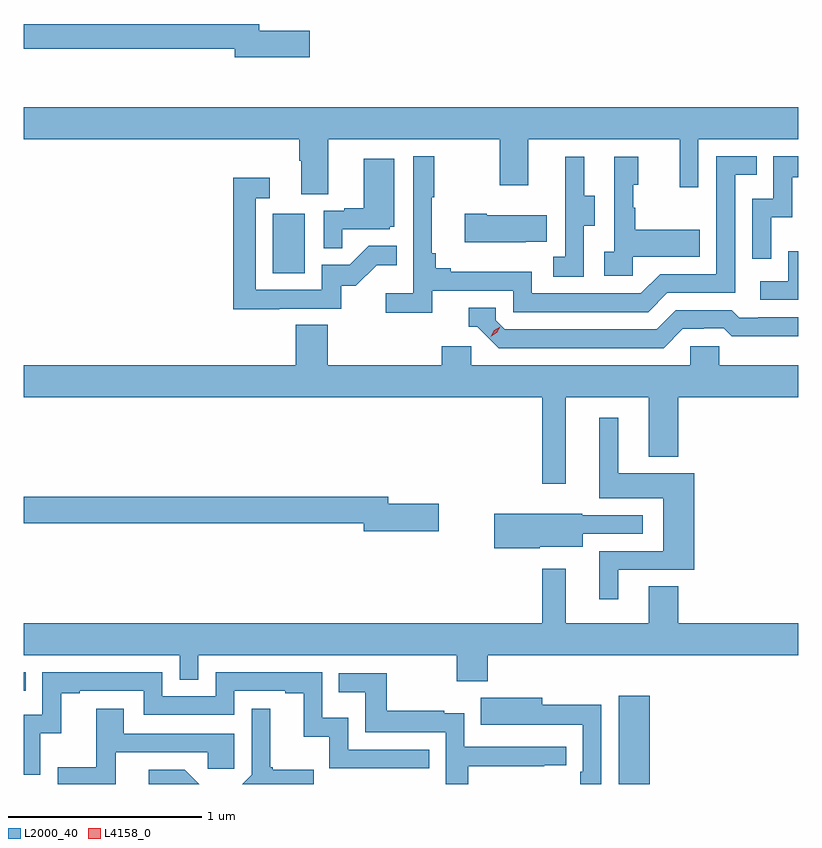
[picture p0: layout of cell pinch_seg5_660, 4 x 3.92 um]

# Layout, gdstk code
import gdstk
lib = gdstk.Library(unit=1e-6, precision=1e-09)
def R(c, l, rs):  # rectangles x0, y0, x1, y1
    for r in rs: c.add(gdstk.rectangle(r[:2], r[2:], *l))
def P(c, l, *ps):  # polygons
    for p in ps: c.add(gdstk.Polygon(p, *l))
L2000_40 = (2000, 40)
L4158_0 = (4158, 0)

pinch_seg5_660 = lib.new_cell('pinch_seg5_660')
R(pinch_seg5_660, L2000_40, [(1060.877,850.766,1061.038,851.221), (1057.805,851.247,1057.817,851.343), (1059.092,853.404,1059.256,853.711)])
P(pinch_seg5_660, L2000_40, [(1059.283,854.654),(1059.022,854.654),(1059.022,854.69),(1057.805,854.69),(1057.805,854.562),(1058.894,854.562),(1058.894,854.519),(1059.283,854.519)],
  [(1059.379,854.096),(1060.264,854.096),(1060.264,853.857),(1060.411,853.857),(1060.411,854.096),(1061.192,854.096),(1061.192,853.848),(1061.289,853.848),(1061.289,854.096),(1061.805,854.096),(1061.805,854.26),(1057.805,854.26),(1057.805,854.096),(1059.227,854.096),(1059.227,853.984),(1059.239,853.984),(1059.239,853.81),(1059.379,853.81)],
  [(1059.914,853.314),(1060.332,853.314),(1060.332,853.203),(1061.029,853.203),(1061.128,853.302),(1061.478,853.302),(1061.478,853.911),(1061.591,853.911),(1061.591,854.007),(1061.382,854.007),(1061.382,853.398),(1061.091,853.398),(1060.992,853.299),(1060.428,853.299),(1060.428,853.411),(1060.009,853.411),(1060.009,853.43),(1059.932,853.43),(1059.932,853.507),(1059.913,853.507),(1059.913,853.795),(1059.925,853.795),(1059.925,854.008),(1059.816,854.008),(1059.816,853.3),(1059.675,853.3),(1059.675,853.198),(1059.914,853.198)],
  [(1061.664,853.691),(1061.774,853.691),(1061.774,853.899),(1061.805,853.899),(1061.805,854.007),(1061.676,854.007),(1061.676,853.788),(1061.568,853.788),(1061.568,853.479),(1061.664,853.479)],
  [(1060.698,853.648),(1060.753,853.648),(1060.753,853.803),(1060.699,853.803),(1060.699,854.005),(1060.601,854.005),(1060.601,853.791),(1060.602,853.791),(1060.602,853.487),(1060.539,853.487),(1060.539,853.384),(1060.698,853.384)],
  [(1060.95,853.487),(1061.297,853.487),(1061.297,853.627),(1060.963,853.627),(1060.963,853.742),(1060.953,853.742),(1060.953,853.86),(1060.978,853.86),(1060.978,854.005),(1060.854,854.005),(1060.854,853.514),(1060.803,853.514),(1060.803,853.389),(1060.95,853.389)],
  [(1059.449,853.629),(1059.696,853.629),(1059.696,853.644),(1059.718,853.644),(1059.718,853.993),(1059.56,853.993),(1059.56,853.738),(1059.461,853.738),(1059.461,853.725),(1059.354,853.725),(1059.354,853.531),(1059.449,853.531)],
  [(1059.125,853.221),(1059.444,853.221),(1059.444,853.338),(1059.52,853.338),(1059.627,853.445),(1059.731,853.445),(1059.731,853.544),(1059.587,853.544),(1059.489,853.446),(1059.345,853.446),(1059.345,853.317),(1059.003,853.317),(1059.003,853.791),(1059.076,853.791),(1059.076,853.897),(1058.887,853.897),(1058.887,853.216),(1059.125,853.216)],
  [(1060.397,853.565),(1060.505,853.565),(1060.505,853.702),(1060.195,853.702),(1060.195,853.71),(1060.083,853.71),(1060.083,853.562),(1060.397,853.562)],
  [(1061.805,853.516),(1061.754,853.516),(1061.754,853.362),(1061.607,853.362),(1061.607,853.266),(1061.805,853.266)],
  [(1061.209,853.116),(1061.316,853.116),(1061.316,853.119),(1061.419,853.119),(1061.461,853.077),(1061.694,853.077),(1061.694,853.079),(1061.805,853.079),(1061.805,853.176),(1061.599,853.176),(1061.599,853.173),(1061.5,853.173),(1061.461,853.212),(1061.172,853.212),(1061.073,853.113),(1060.29,853.113),(1060.242,853.161),(1060.242,853.224),(1060.103,853.224),(1060.103,853.128),(1060.146,853.128),(1060.257,853.017),(1061.11,853.017)],
  [(1060.603,852.764),(1061.033,852.764),(1061.033,852.455),(1061.186,852.455),(1061.186,852.764),(1061.805,852.764),(1061.805,852.928),(1061.397,852.928),(1061.397,853.026),(1061.247,853.026),(1061.247,852.928),(1060.116,852.928),(1060.116,853.026),(1059.965,853.026),(1059.965,852.928),(1059.374,852.928),(1059.374,853.136),(1059.209,853.136),(1059.209,852.928),(1057.805,852.928),(1057.805,852.764),(1060.482,852.764),(1060.482,852.315),(1060.603,852.315)],
  [(1060.876,851.871),(1061.267,851.871),(1061.267,852.37),(1060.876,852.37),(1060.876,852.658),(1060.778,852.658),(1060.778,852.242),(1061.108,852.242),(1061.108,851.967),(1060.778,851.967),(1060.778,851.721),(1060.876,851.721)],
  [(1059.949,852.212),(1059.688,852.212),(1059.688,852.248),(1057.805,852.248),(1057.805,852.112),(1059.56,852.112),(1059.56,852.07),(1059.949,852.07)],
  [(1060.47,851.99),(1060.693,851.99),(1060.693,852.057),(1061.002,852.057),(1061.002,852.153),(1060.689,852.153),(1060.689,852.161),(1060.236,852.161),(1060.236,851.983),(1060.47,851.983)],
  [(1060.202,851.432),(1061.805,851.432),(1061.805,851.596),(1061.186,851.596),(1061.186,851.786),(1061.033,851.786),(1061.033,851.596),(1060.603,851.596),(1060.603,851.878),(1060.482,851.878),(1060.482,851.596),(1057.805,851.596),(1057.805,851.432),(1058.61,851.432),(1058.61,851.305),(1058.706,851.305),(1058.706,851.432),(1060.042,851.432),(1060.042,851.297),(1060.202,851.297)],
  [(1057.89,851.027),(1058,851.027),(1058,851.235),(1058.095,851.235),(1058.095,851.247),(1058.424,851.247),(1058.424,851.124),(1058.892,851.124),(1058.892,851.247),(1059.155,851.247),(1059.155,851.235),(1059.251,851.235),(1059.251,851.009),(1059.384,851.009),(1059.384,850.848),(1059.899,850.848),(1059.899,850.944),(1059.48,850.944),(1059.48,851.107),(1059.348,851.107),(1059.348,851.343),(1058.796,851.343),(1058.796,851.22),(1058.52,851.22),(1058.52,851.343),(1057.902,851.343),(1057.902,851.124),(1057.805,851.124),(1057.805,850.815),(1057.89,850.815)],
  [(1060.1,850.858),(1060.493,850.858),(1060.493,850.863),(1060.606,850.863),(1060.606,850.959),(1060.08,850.959),(1060.08,851.131),(1059.977,851.131),(1059.977,851.143),(1059.679,851.143),(1059.679,851.337),(1059.433,851.337),(1059.433,851.24),(1059.568,851.24),(1059.568,851.034),(1059.984,851.034),(1059.984,850.766),(1060.1,850.766)],
  [(1060.788,851.174),(1060.483,851.174),(1060.483,851.212),(1060.165,851.212),(1060.165,851.072),(1060.379,851.072),(1060.379,851.073),(1060.692,851.073),(1060.692,850.828),(1060.679,850.828),(1060.679,850.766),(1060.788,850.766)],
  [(1059.304,850.84),(1059.091,850.84),(1059.091,850.852),(1059.079,850.852),(1059.079,851.155),(1058.982,851.155),(1058.982,850.815),(1058.933,850.766),(1059.304,850.766)],
  [(1058.281,850.929),(1058.755,850.929),(1058.755,850.845),(1058.892,850.845),(1058.892,851.025),(1058.323,851.025),(1058.323,851.155),(1058.179,851.155),(1058.179,850.852),(1057.98,850.852),(1057.98,850.766),(1058.281,850.766)],
  [(1058.638,850.839),(1058.451,850.839),(1058.451,850.766),(1058.711,850.766)])
P(pinch_seg5_660, L4158_0, [(1060.217,853.076),(1060.217,853.076),(1060.234,853.109),(1060.265,853.128),(1060.265,853.128),(1060.265,853.128),(1060.248,853.095),(1060.217,853.076)])

lib.write_gds('pinch_seg5_660.gds')
